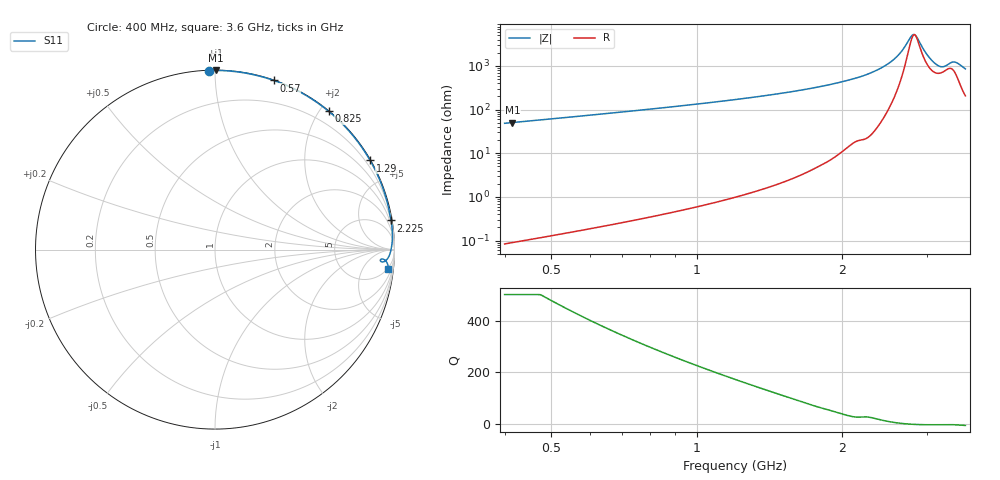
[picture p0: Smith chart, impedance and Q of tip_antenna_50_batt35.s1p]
! tip_antenna_50_batt35
! simulated by sim/rf_fdtd.py
# HZ S RI R 50
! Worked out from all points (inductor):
!   641 points, 400 MHz to 3.6 GHz, reference 50 ohm
!   read as one part to ground: L = 18.8 nH near 415 MHz
!   highest Q = 562 at 415 MHz (marker M1), where L = 19.3 nH
!   self-resonance near 2.829 GHz
!   S11 on the Smith chart (normalised r, x): 400 MHz: 0.00, +0.97; 570 MHz: 0.00, +1.41; 825 MHz: 0.01, +2.12; 1.29 GHz: 0.02, +3.75; 2.225 GHz: 0, +12; 3.6 GHz: 4, -17
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4e8  -0.0313 0.9978
4.15e8  0.00674 0.9982
4.9e8  0.1779 0.982
5.7e8  0.3273 0.9425
6.25e8  0.4127 0.9083
6.8e8  0.486 0.8711
7.4e8  0.5543 0.8293
8e8  0.6122 0.7873
8.25e8  0.6338 0.77
9.05e8  0.694 0.7161
9.95e8  0.7486 0.6587
1.095e9  0.7967 0.5993
1.2e9  0.8366 0.542
1.29e9  0.8642 0.4967
1.435e9  0.8989 0.4302
1.6e9  0.9277 0.3629
2e9  0.9683 0.2261
2.225e9  0.9811 0.1623
2.4e9  0.9872 0.1127
2.8e9  0.9821 0.00721
2.955e9  0.9716 -0.0319
3.075e9  0.9538 -0.0592
3.14e9  0.9392 -0.068
3.2e9  0.9258 -0.0673
3.27e9  0.9217 -0.0571
3.365e9  0.9395 -0.054
3.48e9  0.9602 -0.0773
3.6e9  0.9659 -0.1102
